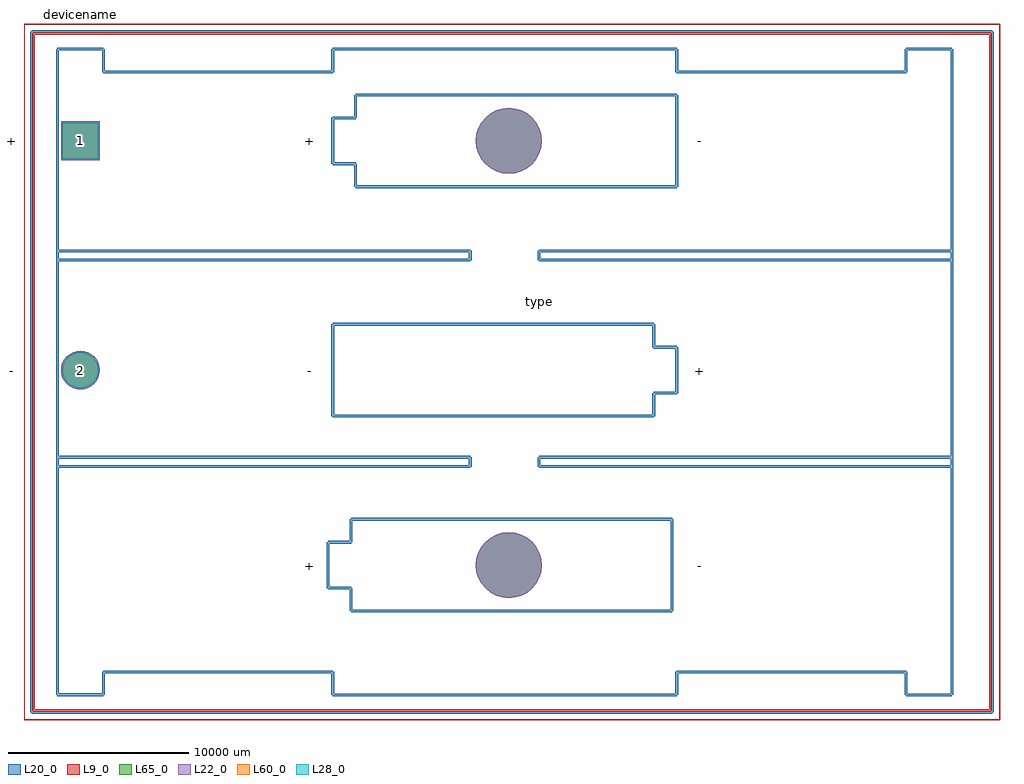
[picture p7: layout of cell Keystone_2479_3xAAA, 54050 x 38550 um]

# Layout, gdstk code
import gdstk
lib = gdstk.Library(unit=1e-6, precision=1e-09)
def R(c, l, rs):  # rectangles x0, y0, x1, y1
    for r in rs: c.add(gdstk.rectangle(r[:2], r[2:], *l))
def P(c, l, *ps):  # polygons
    for p in ps: c.add(gdstk.Polygon(p, *l))
L9_0 = (9, 0)
L20_0 = (20, 0)
L22_0 = (22, 0)
L28_0 = (28, 0)
L60_0 = (60, 0)
L65_0 = (65, 0)

keystone_2479_3xaaa = lib.new_cell('Keystone_2479_3xAAA')
R(keystone_2479_3xaaa, L22_0, [(-1075,-1075,1075,1075)])
P(keystone_2479_3xaaa, L22_0, [(25548.6,0),(25513.533,356.04),(25409.68,698.397),(25241.032,1013.916),(25014.07,1290.47),(24737.516,1517.432),(24421.997,1686.08),(24079.64,1789.933),(23723.6,1825),(23367.56,1789.933),(23025.203,1686.08),(22709.684,1517.432),(22433.13,1290.47),(22206.168,1013.916),(22037.52,698.397),(21933.667,356.04),(21898.6,0),(21933.667,-356.04),(22037.52,-698.397),(22206.168,-1013.916),(22433.13,-1290.47),(22709.684,-1517.432),(23025.203,-1686.08),(23367.56,-1789.933),(23723.6,-1825),(24079.64,-1789.933),(24421.997,-1686.08),(24737.516,-1517.432),(25014.07,-1290.47),(25241.032,-1013.916),(25409.68,-698.397),(25513.533,-356.04)],
  [(25548.6,-23495),(25513.533,-23138.96),(25409.68,-22796.603),(25241.032,-22481.084),(25014.07,-22204.53),(24737.516,-21977.568),(24421.997,-21808.92),(24079.64,-21705.067),(23723.6,-21670),(23367.56,-21705.067),(23025.203,-21808.92),(22709.684,-21977.568),(22433.13,-22204.53),(22206.168,-22481.084),(22037.52,-22796.603),(21933.667,-23138.96),(21898.6,-23495),(21933.667,-23851.04),(22037.52,-24193.397),(22206.168,-24508.916),(22433.13,-24785.47),(22709.684,-25012.432),(23025.203,-25181.08),(23367.56,-25284.933),(23723.6,-25320),(24079.64,-25284.933),(24421.997,-25181.08),(24737.516,-25012.432),(25014.07,-24785.47),(25241.032,-24508.916),(25409.68,-24193.397),(25513.533,-23851.04)],
  [(1075,-12700),(1054.344,-12490.278),(993.17,-12288.615),(893.83,-12102.762),(760.14,-11939.86),(597.238,-11806.17),(411.385,-11706.83),(209.722,-11645.656),(0,-11625),(-209.722,-11645.656),(-411.385,-11706.83),(-597.238,-11806.17),(-760.14,-11939.86),(-893.83,-12102.762),(-993.17,-12288.615),(-1054.344,-12490.278),(-1075,-12700),(-1054.344,-12909.722),(-993.17,-13111.385),(-893.83,-13297.238),(-760.14,-13460.14),(-597.238,-13593.83),(-411.385,-13693.17),(-209.722,-13754.344),(0,-13775),(209.722,-13754.344),(411.385,-13693.17),(597.238,-13593.83),(760.14,-13460.14),(893.83,-13297.238),(993.17,-13111.385),(1054.344,-12909.722)])
R(keystone_2479_3xaaa, L28_0, [(-1000,-1000,1000,1000)])
P(keystone_2479_3xaaa, L28_0, [(1000,-12700),(980.785,-12504.91),(923.88,-12317.317),(831.47,-12144.43),(707.107,-11992.893),(555.57,-11868.53),(382.683,-11776.12),(195.09,-11719.215),(0,-11700),(-195.09,-11719.215),(-382.683,-11776.12),(-555.57,-11868.53),(-707.107,-11992.893),(-831.47,-12144.43),(-923.88,-12317.317),(-980.785,-12504.91),(-1000,-12700),(-980.785,-12895.09),(-923.88,-13082.683),(-831.47,-13255.57),(-707.107,-13407.107),(-555.57,-13531.47),(-382.683,-13623.88),(-195.09,-13680.785),(0,-13700),(195.09,-13680.785),(382.683,-13623.88),(555.57,-13531.47),(707.107,-13407.107),(831.47,-13255.57),(923.88,-13082.683),(980.785,-12895.09)])
R(keystone_2479_3xaaa, L60_0, [(-1000,-1000,1000,1000)])
P(keystone_2479_3xaaa, L60_0, [(1000,-12700),(980.785,-12504.91),(923.88,-12317.317),(831.47,-12144.43),(707.107,-11992.893),(555.57,-11868.53),(382.683,-11776.12),(195.09,-11719.215),(0,-11700),(-195.09,-11719.215),(-382.683,-11776.12),(-555.57,-11868.53),(-707.107,-11992.893),(-831.47,-12144.43),(-923.88,-12317.317),(-980.785,-12504.91),(-1000,-12700),(-980.785,-12895.09),(-923.88,-13082.683),(-831.47,-13255.57),(-707.107,-13407.107),(-555.57,-13531.47),(-382.683,-13623.88),(-195.09,-13680.785),(0,-13700),(195.09,-13680.785),(382.683,-13623.88),(555.57,-13531.47),(707.107,-13407.107),(831.47,-13255.57),(923.88,-13082.683),(980.785,-12895.09)])
R(keystone_2479_3xaaa, L65_0, [(-1075,-1075,1075,1075)])
P(keystone_2479_3xaaa, L65_0, [(25548.6,0),(25513.533,356.04),(25409.68,698.397),(25241.032,1013.916),(25014.07,1290.47),(24737.516,1517.432),(24421.997,1686.08),(24079.64,1789.933),(23723.6,1825),(23367.56,1789.933),(23025.203,1686.08),(22709.684,1517.432),(22433.13,1290.47),(22206.168,1013.916),(22037.52,698.397),(21933.667,356.04),(21898.6,0),(21933.667,-356.04),(22037.52,-698.397),(22206.168,-1013.916),(22433.13,-1290.47),(22709.684,-1517.432),(23025.203,-1686.08),(23367.56,-1789.933),(23723.6,-1825),(24079.64,-1789.933),(24421.997,-1686.08),(24737.516,-1517.432),(25014.07,-1290.47),(25241.032,-1013.916),(25409.68,-698.397),(25513.533,-356.04)],
  [(25548.6,-23495),(25513.533,-23138.96),(25409.68,-22796.603),(25241.032,-22481.084),(25014.07,-22204.53),(24737.516,-21977.568),(24421.997,-21808.92),(24079.64,-21705.067),(23723.6,-21670),(23367.56,-21705.067),(23025.203,-21808.92),(22709.684,-21977.568),(22433.13,-22204.53),(22206.168,-22481.084),(22037.52,-22796.603),(21933.667,-23138.96),(21898.6,-23495),(21933.667,-23851.04),(22037.52,-24193.397),(22206.168,-24508.916),(22433.13,-24785.47),(22709.684,-25012.432),(23025.203,-25181.08),(23367.56,-25284.933),(23723.6,-25320),(24079.64,-25284.933),(24421.997,-25181.08),(24737.516,-25012.432),(25014.07,-24785.47),(25241.032,-24508.916),(25409.68,-24193.397),(25513.533,-23851.04)],
  [(1075,-12700),(1054.344,-12490.278),(993.17,-12288.615),(893.83,-12102.762),(760.14,-11939.86),(597.238,-11806.17),(411.385,-11706.83),(209.722,-11645.656),(0,-11625),(-209.722,-11645.656),(-411.385,-11706.83),(-597.238,-11806.17),(-760.14,-11939.86),(-893.83,-12102.762),(-993.17,-12288.615),(-1054.344,-12490.278),(-1075,-12700),(-1054.344,-12909.722),(-993.17,-13111.385),(-893.83,-13297.238),(-760.14,-13460.14),(-597.238,-13593.83),(-411.385,-13693.17),(-209.722,-13754.344),(0,-13775),(209.722,-13754.344),(411.385,-13693.17),(597.238,-13593.83),(760.14,-13460.14),(893.83,-13297.238),(993.17,-13111.385),(1054.344,-12909.722)])
keystone_2479_3xaaa.add(gdstk.FlexPath([(-2600,5950),(50400,5950)], 149.998, ends="flush", simple_path=True, layer=9, datatype=0))  # L9_0
keystone_2479_3xaaa.add(gdstk.FlexPath([(-2600,-6350),(-2600,5950)], 149.998, ends="flush", simple_path=True, layer=9, datatype=0))  # L9_0
keystone_2479_3xaaa.add(gdstk.FlexPath([(-2600,-31550),(50400,-31550)], 149.998, ends="flush", simple_path=True, layer=9, datatype=0))  # L9_0
keystone_2479_3xaaa.add(gdstk.FlexPath([(50400,-18650),(50400,5950)], 149.998, ends="flush", simple_path=True, layer=9, datatype=0))  # L9_0
keystone_2479_3xaaa.add(gdstk.FlexPath([(-2600,-18650),(-2600,-6350)], 149.998, ends="flush", simple_path=True, layer=9, datatype=0))  # L9_0
keystone_2479_3xaaa.add(gdstk.FlexPath([(45720,-30680),(45720,-29410)], 149.998, ends="flush", simple_path=True, layer=20, datatype=0))  # L20_0
keystone_2479_3xaaa.add(gdstk.FlexPath([(48260,-30680),(45720,-30680)], 149.998, ends="flush", simple_path=True, layer=20, datatype=0))  # L20_0
keystone_2479_3xaaa.add(gdstk.FlexPath([(48260,5080),(48260,-17780)], 149.998, ends="flush", simple_path=True, layer=20, datatype=0))  # L20_0
keystone_2479_3xaaa.add(gdstk.FlexPath([(45720,5080),(45720,3810)], 149.998, ends="flush", simple_path=True, layer=20, datatype=0))  # L20_0
keystone_2479_3xaaa.add(gdstk.FlexPath([(48260,5080),(45720,5080)], 149.998, ends="flush", simple_path=True, layer=20, datatype=0))  # L20_0
keystone_2479_3xaaa.add(gdstk.FlexPath([(1270,-29410),(13970,-29410)], 149.998, ends="flush", simple_path=True, layer=20, datatype=0))  # L20_0
keystone_2479_3xaaa.add(gdstk.FlexPath([(1270,-30670.5),(1270,-29410)], 149.998, ends="flush", simple_path=True, layer=20, datatype=0))  # L20_0
keystone_2479_3xaaa.add(gdstk.FlexPath([(-1270,-30670.5),(1270,-30670.5)], 149.998, ends="flush", simple_path=True, layer=20, datatype=0))  # L20_0
keystone_2479_3xaaa.add(gdstk.FlexPath([(-1270,5080),(-1270,-17780)], 149.998, ends="flush", simple_path=True, layer=20, datatype=0))  # L20_0
keystone_2479_3xaaa.add(gdstk.FlexPath([(1270,5080),(-1270,5080)], 149.998, ends="flush", simple_path=True, layer=20, datatype=0))  # L20_0
keystone_2479_3xaaa.add(gdstk.FlexPath([(1270,3810),(1270,5080)], 149.998, ends="flush", simple_path=True, layer=20, datatype=0))  # L20_0
keystone_2479_3xaaa.add(gdstk.FlexPath([(1270,3810),(13970,3810)], 149.998, ends="flush", simple_path=True, layer=20, datatype=0))  # L20_0
keystone_2479_3xaaa.add(gdstk.FlexPath([(45720,-29410),(33020,-29410)], 149.998, ends="flush", simple_path=True, layer=20, datatype=0))  # L20_0
keystone_2479_3xaaa.add(gdstk.FlexPath([(13970,5080),(13970,3810)], 149.998, ends="flush", simple_path=True, layer=20, datatype=0))  # L20_0
keystone_2479_3xaaa.add(gdstk.FlexPath([(33020,5080),(13970,5080)], 149.998, ends="flush", simple_path=True, layer=20, datatype=0))  # L20_0
keystone_2479_3xaaa.add(gdstk.FlexPath([(33020,3810),(33020,5080)], 149.998, ends="flush", simple_path=True, layer=20, datatype=0))  # L20_0
keystone_2479_3xaaa.add(gdstk.FlexPath([(45720,3810),(33020,3810)], 149.998, ends="flush", simple_path=True, layer=20, datatype=0))  # L20_0
keystone_2479_3xaaa.add(gdstk.FlexPath([(33020,-30680),(33020,-29410)], 149.998, ends="flush", simple_path=True, layer=20, datatype=0))  # L20_0
keystone_2479_3xaaa.add(gdstk.FlexPath([(13970,-30680),(33020,-30680)], 149.998, ends="flush", simple_path=True, layer=20, datatype=0))  # L20_0
keystone_2479_3xaaa.add(gdstk.FlexPath([(13970,-29410),(13970,-30680)], 149.998, ends="flush", simple_path=True, layer=20, datatype=0))  # L20_0
keystone_2479_3xaaa.add(gdstk.FlexPath([(25400,-6604),(48260,-6604)], 149.998, ends="flush", simple_path=True, layer=20, datatype=0))  # L20_0
keystone_2479_3xaaa.add(gdstk.FlexPath([(25400,-6096),(25400,-6604)], 149.998, ends="flush", simple_path=True, layer=20, datatype=0))  # L20_0
keystone_2479_3xaaa.add(gdstk.FlexPath([(48260,-6096),(25400,-6096)], 149.998, ends="flush", simple_path=True, layer=20, datatype=0))  # L20_0
keystone_2479_3xaaa.add(gdstk.FlexPath([(21590,-6604),(-1270,-6604)], 149.998, ends="flush", simple_path=True, layer=20, datatype=0))  # L20_0
keystone_2479_3xaaa.add(gdstk.FlexPath([(21590,-6096),(21590,-6604)], 149.998, ends="flush", simple_path=True, layer=20, datatype=0))  # L20_0
keystone_2479_3xaaa.add(gdstk.FlexPath([(-1270,-6096),(21590,-6096)], 149.998, ends="flush", simple_path=True, layer=20, datatype=0))  # L20_0
keystone_2479_3xaaa.add(gdstk.FlexPath([(33020,2540),(33020,1270)], 149.998, ends="flush", simple_path=True, layer=20, datatype=0))  # L20_0
keystone_2479_3xaaa.add(gdstk.FlexPath([(15240,2540),(33020,2540)], 149.998, ends="flush", simple_path=True, layer=20, datatype=0))  # L20_0
keystone_2479_3xaaa.add(gdstk.FlexPath([(15240,1270),(15240,2540)], 149.998, ends="flush", simple_path=True, layer=20, datatype=0))  # L20_0
keystone_2479_3xaaa.add(gdstk.FlexPath([(13970,1270),(15240,1270)], 149.998, ends="flush", simple_path=True, layer=20, datatype=0))  # L20_0
keystone_2479_3xaaa.add(gdstk.FlexPath([(13970,-1270),(13970,1270)], 149.998, ends="flush", simple_path=True, layer=20, datatype=0))  # L20_0
keystone_2479_3xaaa.add(gdstk.FlexPath([(15240,-1270),(13970,-1270)], 149.998, ends="flush", simple_path=True, layer=20, datatype=0))  # L20_0
keystone_2479_3xaaa.add(gdstk.FlexPath([(15240,-2540),(15240,-1270)], 149.998, ends="flush", simple_path=True, layer=20, datatype=0))  # L20_0
keystone_2479_3xaaa.add(gdstk.FlexPath([(33020,-2540),(15240,-2540)], 149.998, ends="flush", simple_path=True, layer=20, datatype=0))  # L20_0
keystone_2479_3xaaa.add(gdstk.FlexPath([(33020,1270),(33020,-2540)], 149.998, ends="flush", simple_path=True, layer=20, datatype=0))  # L20_0
keystone_2479_3xaaa.add(gdstk.FlexPath([(31750,-15240),(13970,-15240)], 149.998, ends="flush", simple_path=True, layer=20, datatype=0))  # L20_0
keystone_2479_3xaaa.add(gdstk.FlexPath([(31750,-13970),(31750,-15240)], 149.998, ends="flush", simple_path=True, layer=20, datatype=0))  # L20_0
keystone_2479_3xaaa.add(gdstk.FlexPath([(33020,-13970),(31750,-13970)], 149.998, ends="flush", simple_path=True, layer=20, datatype=0))  # L20_0
keystone_2479_3xaaa.add(gdstk.FlexPath([(33020,-11430),(33020,-13970)], 149.998, ends="flush", simple_path=True, layer=20, datatype=0))  # L20_0
keystone_2479_3xaaa.add(gdstk.FlexPath([(31750,-11430),(33020,-11430)], 149.998, ends="flush", simple_path=True, layer=20, datatype=0))  # L20_0
keystone_2479_3xaaa.add(gdstk.FlexPath([(31750,-10160),(31750,-11430)], 149.998, ends="flush", simple_path=True, layer=20, datatype=0))  # L20_0
keystone_2479_3xaaa.add(gdstk.FlexPath([(13970,-10160),(31750,-10160)], 149.998, ends="flush", simple_path=True, layer=20, datatype=0))  # L20_0
keystone_2479_3xaaa.add(gdstk.FlexPath([(13970,-15240),(13970,-10160)], 149.998, ends="flush", simple_path=True, layer=20, datatype=0))  # L20_0
keystone_2479_3xaaa.add(gdstk.FlexPath([(50400,-18650),(50400,-31550)], 149.998, ends="flush", simple_path=True, layer=9, datatype=0))  # L9_0
keystone_2479_3xaaa.add(gdstk.FlexPath([(-2600,-18650),(-2600,-31550)], 149.998, ends="flush", simple_path=True, layer=9, datatype=0))  # L9_0
keystone_2479_3xaaa.add(gdstk.FlexPath([(48260,-17780),(48260,-30680)], 149.998, ends="flush", simple_path=True, layer=20, datatype=0))  # L20_0
keystone_2479_3xaaa.add(gdstk.FlexPath([(-1270,-17780),(-1270,-30670.5)], 149.998, ends="flush", simple_path=True, layer=20, datatype=0))  # L20_0
keystone_2479_3xaaa.add(gdstk.FlexPath([(33020,1270),(33020,-2540)], 149.998, ends="flush", simple_path=True, layer=20, datatype=0))  # L20_0
keystone_2479_3xaaa.add(gdstk.FlexPath([(33020,-2540),(15240,-2540)], 149.998, ends="flush", simple_path=True, layer=20, datatype=0))  # L20_0
keystone_2479_3xaaa.add(gdstk.FlexPath([(15240,-2540),(15240,-1270)], 149.998, ends="flush", simple_path=True, layer=20, datatype=0))  # L20_0
keystone_2479_3xaaa.add(gdstk.FlexPath([(15240,-1270),(13970,-1270)], 149.998, ends="flush", simple_path=True, layer=20, datatype=0))  # L20_0
keystone_2479_3xaaa.add(gdstk.FlexPath([(13970,-1270),(13970,1270)], 149.998, ends="flush", simple_path=True, layer=20, datatype=0))  # L20_0
keystone_2479_3xaaa.add(gdstk.FlexPath([(13970,1270),(15240,1270)], 149.998, ends="flush", simple_path=True, layer=20, datatype=0))  # L20_0
keystone_2479_3xaaa.add(gdstk.FlexPath([(15240,1270),(15240,2540)], 149.998, ends="flush", simple_path=True, layer=20, datatype=0))  # L20_0
keystone_2479_3xaaa.add(gdstk.FlexPath([(15240,2540),(33020,2540)], 149.998, ends="flush", simple_path=True, layer=20, datatype=0))  # L20_0
keystone_2479_3xaaa.add(gdstk.FlexPath([(33020,2540),(33020,1270)], 149.998, ends="flush", simple_path=True, layer=20, datatype=0))  # L20_0
keystone_2479_3xaaa.add(gdstk.FlexPath([(32766,-20955),(32766,-22225)], 149.998, ends="flush", simple_path=True, layer=20, datatype=0))  # L20_0
keystone_2479_3xaaa.add(gdstk.FlexPath([(14986,-20955),(32766,-20955)], 149.998, ends="flush", simple_path=True, layer=20, datatype=0))  # L20_0
keystone_2479_3xaaa.add(gdstk.FlexPath([(14986,-22225),(14986,-20955)], 149.998, ends="flush", simple_path=True, layer=20, datatype=0))  # L20_0
keystone_2479_3xaaa.add(gdstk.FlexPath([(13716,-22225),(14986,-22225)], 149.998, ends="flush", simple_path=True, layer=20, datatype=0))  # L20_0
keystone_2479_3xaaa.add(gdstk.FlexPath([(13716,-24765),(13716,-22225)], 149.998, ends="flush", simple_path=True, layer=20, datatype=0))  # L20_0
keystone_2479_3xaaa.add(gdstk.FlexPath([(14986,-24765),(13716,-24765)], 149.998, ends="flush", simple_path=True, layer=20, datatype=0))  # L20_0
keystone_2479_3xaaa.add(gdstk.FlexPath([(14986,-26035),(14986,-24765)], 149.998, ends="flush", simple_path=True, layer=20, datatype=0))  # L20_0
keystone_2479_3xaaa.add(gdstk.FlexPath([(32766,-26035),(14986,-26035)], 149.998, ends="flush", simple_path=True, layer=20, datatype=0))  # L20_0
keystone_2479_3xaaa.add(gdstk.FlexPath([(32766,-22225),(32766,-26035)], 149.998, ends="flush", simple_path=True, layer=20, datatype=0))  # L20_0
keystone_2479_3xaaa.add(gdstk.FlexPath([(32766,-22225),(32766,-26035)], 149.998, ends="flush", simple_path=True, layer=20, datatype=0))  # L20_0
keystone_2479_3xaaa.add(gdstk.FlexPath([(32766,-26035),(14986,-26035)], 149.998, ends="flush", simple_path=True, layer=20, datatype=0))  # L20_0
keystone_2479_3xaaa.add(gdstk.FlexPath([(14986,-26035),(14986,-24765)], 149.998, ends="flush", simple_path=True, layer=20, datatype=0))  # L20_0
keystone_2479_3xaaa.add(gdstk.FlexPath([(14986,-24765),(13716,-24765)], 149.998, ends="flush", simple_path=True, layer=20, datatype=0))  # L20_0
keystone_2479_3xaaa.add(gdstk.FlexPath([(13716,-24765),(13716,-22225)], 149.998, ends="flush", simple_path=True, layer=20, datatype=0))  # L20_0
keystone_2479_3xaaa.add(gdstk.FlexPath([(13716,-22225),(14986,-22225)], 149.998, ends="flush", simple_path=True, layer=20, datatype=0))  # L20_0
keystone_2479_3xaaa.add(gdstk.FlexPath([(14986,-22225),(14986,-20955)], 149.998, ends="flush", simple_path=True, layer=20, datatype=0))  # L20_0
keystone_2479_3xaaa.add(gdstk.FlexPath([(14986,-20955),(32766,-20955)], 149.998, ends="flush", simple_path=True, layer=20, datatype=0))  # L20_0
keystone_2479_3xaaa.add(gdstk.FlexPath([(32766,-20955),(32766,-22225)], 149.998, ends="flush", simple_path=True, layer=20, datatype=0))  # L20_0
keystone_2479_3xaaa.add(gdstk.FlexPath([(-1270,-17526),(21590,-17526)], 149.998, ends="flush", simple_path=True, layer=20, datatype=0))  # L20_0
keystone_2479_3xaaa.add(gdstk.FlexPath([(21590,-17526),(21590,-18034)], 149.998, ends="flush", simple_path=True, layer=20, datatype=0))  # L20_0
keystone_2479_3xaaa.add(gdstk.FlexPath([(21590,-18034),(-1270,-18034)], 149.998, ends="flush", simple_path=True, layer=20, datatype=0))  # L20_0
keystone_2479_3xaaa.add(gdstk.FlexPath([(48260,-17526),(25400,-17526)], 149.998, ends="flush", simple_path=True, layer=20, datatype=0))  # L20_0
keystone_2479_3xaaa.add(gdstk.FlexPath([(25400,-17526),(25400,-18034)], 149.998, ends="flush", simple_path=True, layer=20, datatype=0))  # L20_0
keystone_2479_3xaaa.add(gdstk.FlexPath([(25400,-18034),(48260,-18034)], 149.998, ends="flush", simple_path=True, layer=20, datatype=0))  # L20_0
keystone_2479_3xaaa.add(gdstk.FlexPath([(50900,6450),(50900,-32050)], 50, ends="flush", simple_path=True, layer=9, datatype=0))  # L9_0
keystone_2479_3xaaa.add(gdstk.FlexPath([(50900,-32050),(-3100,-32050)], 50, ends="flush", simple_path=True, layer=9, datatype=0))  # L9_0
keystone_2479_3xaaa.add(gdstk.FlexPath([(-3100,-32050),(-3100,6450)], 50, ends="flush", simple_path=True, layer=9, datatype=0))  # L9_0
keystone_2479_3xaaa.add(gdstk.FlexPath([(-3100,6450),(50900,6450)], 50, ends="flush", simple_path=True, layer=9, datatype=0))  # L9_0
keystone_2479_3xaaa.add(gdstk.FlexPath([(50500,6050),(-2700,6050)], 149.998, ends="flush", simple_path=True, layer=20, datatype=0))  # L20_0
keystone_2479_3xaaa.add(gdstk.FlexPath([(-2700,6050),(-2700,-31650)], 149.998, ends="flush", simple_path=True, layer=20, datatype=0))  # L20_0
keystone_2479_3xaaa.add(gdstk.FlexPath([(-2700,-31650),(50500,-31650)], 149.998, ends="flush", simple_path=True, layer=20, datatype=0))  # L20_0
keystone_2479_3xaaa.add(gdstk.FlexPath([(50500,-31650),(50500,6050)], 149.998, ends="flush", simple_path=True, layer=20, datatype=0))  # L20_0
keystone_2479_3xaaa.add(gdstk.Label('2', (0,-12700), layer=28, texttype=0))
keystone_2479_3xaaa.add(gdstk.Label('1', (0,0), layer=28, texttype=0))
keystone_2479_3xaaa.add(gdstk.Label('+', (-3810,0), layer=9, texttype=0))
keystone_2479_3xaaa.add(gdstk.Label('-', (-3810,-12700), layer=9, texttype=0))
keystone_2479_3xaaa.add(gdstk.Label('-', (34290,0), layer=9, texttype=0))
keystone_2479_3xaaa.add(gdstk.Label('-', (34290,-23495), layer=9, texttype=0))
keystone_2479_3xaaa.add(gdstk.Label('-', (12700,-12700), layer=9, texttype=0))
keystone_2479_3xaaa.add(gdstk.Label('+', (12700,-23495), layer=9, texttype=0))
keystone_2479_3xaaa.add(gdstk.Label('+', (34290,-12700), layer=9, texttype=0))
keystone_2479_3xaaa.add(gdstk.Label('+', (12700,0), layer=9, texttype=0))
keystone_2479_3xaaa.add(gdstk.Label('type', (25400,-8890), layer=9, texttype=0))
keystone_2479_3xaaa.add(gdstk.Label('devicename', (0,7000), layer=9, texttype=0))

lib.write_gds('Keystone_2479_3xAAA.gds')
